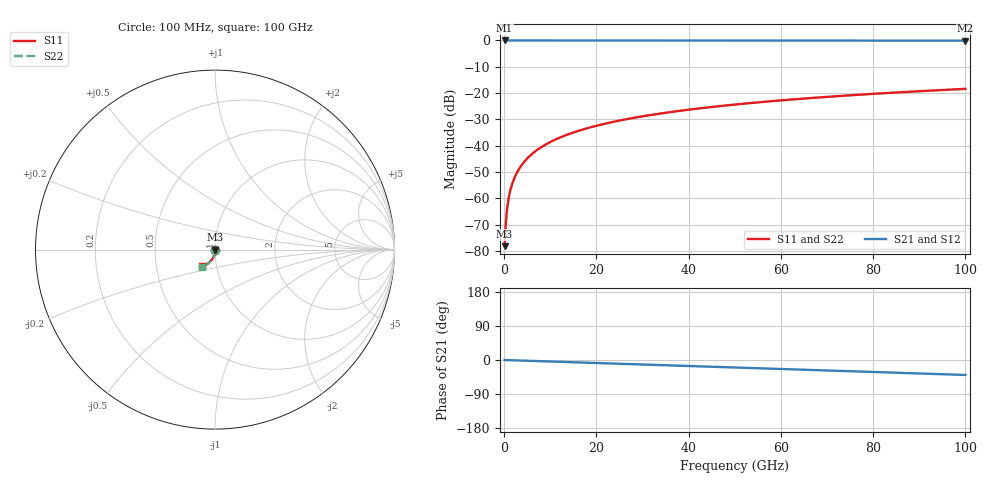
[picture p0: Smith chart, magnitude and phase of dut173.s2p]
! Touchstone file exported from HFSS 2026.1.0
!  File:  C:/ffzhzh/LocalFiles/Ansys_Project_Files/temp_train_TSV_173_1783506983_41296.aedt
!  Generated:  06:37:31 PM Jul  8, 2026
!  Design:  TSV
!  Project:  temp_train_TSV_173_1783506983_41296
! Variables:
!  h_bsmrdl = 2um
!  h_ox = 20um
!  h_rdl = 5um
!  h_sub = 79.52um
!  h_tmrdl = 5um
!  h_tsv = 79.52um
!  h_via = 3um
!  l_bsmrdl = 300um
!  l_sub = 424.56um
!  l_tmrdl = 200um
!  m_sub = 200um
!  pitch = 41.81um
!  r_tsv = 12.28um
!  s_tmrdl = 10um
!  w_bsmrdl = 18um
!  w_sub = 500um
!  w_tmrdl = 12um
!  x_tsv_center1 = 206um
!  x_tsv_center2 = 524um
!  x_tsv_center3 = 736um
!  x_tsv_center4 = 1054um
!  x_tsv_center5 = 1266um
!  x_tsv_center6 = 1584um
# GHz S MA R 50.000000
! Terminal data exported
! Port[1] = TSV1_1_T1
! Port[2] = TSV1_1_T2
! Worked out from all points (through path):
!   1000 points, 100 MHz to 100 GHz, reference 50 ohm
!   highest |S21| = 0.00 dB at 100 MHz (marker M1); lowest = -0.1 dB at 100 GHz (marker M2)
!   group delay of S21, straight-line fit = 1.1 ps
!   lowest |S11| = -78.2 dB at 100 MHz (marker M3), VSWR 1.00, Z = 50 - j0.00758 ohm
!   |S11| at or under -10 dB: start of sweep to end of sweep
!   |S22| runs from -78.2 to -18.4 dB; largest |S21 - S12| = 9.6e-15
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0.1  0.0001225 -38.2  0.9999 -0.0  0.9999 -0.0  0.0001225 -38.2
! Gamma 0 0 0 0
! Port Impedance 50 0 50 0
0.4  0.0003738 -65.6  0.9998 -0.2  0.9998 -0.2  0.0003738 -65.6
0.8  0.0008028 -73.5  0.9998 -0.3  0.9998 -0.3  0.0008028 -73.5
1.1  0.00114 -76.6  0.9997 -0.4  0.9997 -0.4  0.00114 -76.6
1.4  0.001479 -78.7  0.9997 -0.6  0.9997 -0.6  0.001479 -78.7
1.8  0.001935 -80.5  0.9997 -0.7  0.9997 -0.7  0.001935 -80.5
2.4  0.002627 -82.3  0.9996 -1.0  0.9996 -1.0  0.002627 -82.3
3  0.003327 -83.5  0.9996 -1.2  0.9996 -1.2  0.003327 -83.5
3.8  0.00427 -84.8  0.9995 -1.5  0.9995 -1.5  0.00427 -84.8
4.8  0.005459 -86.0  0.9994 -1.9  0.9994 -1.9  0.005459 -86.0
5.9  0.006773 -87.1  0.9994 -2.4  0.9994 -2.4  0.006773 -87.1
7.2  0.008332 -88.1  0.9993 -2.9  0.9993 -2.9  0.008332 -88.1
8.7  0.01014 -89.2  0.9992 -3.5  0.9992 -3.5  0.01014 -89.2
12.3  0.0145 -91.3  0.999 -4.9  0.999 -4.9  0.0145 -91.2
16.8  0.01996 -93.6  0.9987 -6.7  0.9987 -6.7  0.01996 -93.6
24.1  0.02886 -97.0  0.9983 -9.5  0.9983 -9.5  0.02886 -97.0
33.4  0.0402 -101.1  0.9977 -13.2  0.9977 -13.2  0.0402 -101.0
41.2  0.0497 -104.4  0.997 -16.3  0.997 -16.3  0.0497 -104.3
50.1  0.06052 -108.1  0.9963 -19.8  0.9963 -19.8  0.06052 -108.0
66.7  0.08057 -114.9  0.9945 -26.3  0.9945 -26.3  0.08057 -114.8
83.4  0.1005 -121.7  0.9923 -32.9  0.9923 -32.9  0.1005 -121.6
100  0.1202 -128.4  0.9897 -39.5  0.9897 -39.5  0.1202 -128.4
